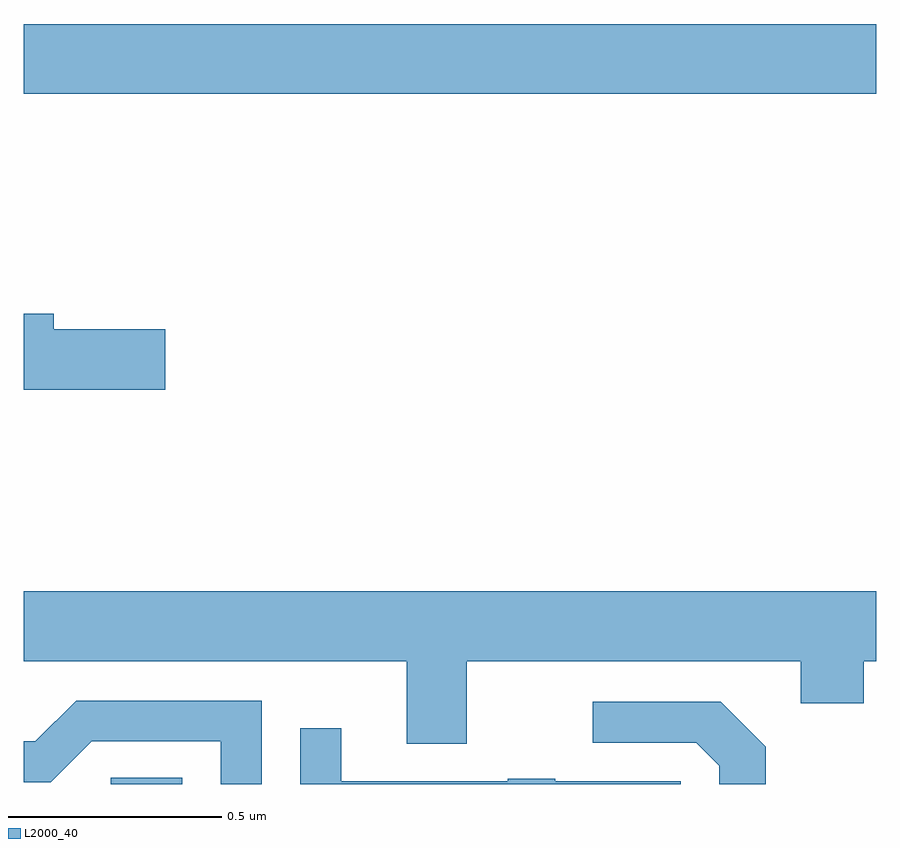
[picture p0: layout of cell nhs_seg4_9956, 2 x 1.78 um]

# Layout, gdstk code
import gdstk
lib = gdstk.Library(unit=1e-6, precision=1e-09)
def R(c, l, rs):  # rectangles x0, y0, x1, y1
    for r in rs: c.add(gdstk.rectangle(r[:2], r[2:], *l))
def P(c, l, *ps):  # polygons
    for p in ps: c.add(gdstk.Polygon(p, *l))
L2000_40 = (2000, 40)

nhs_seg4_9956 = lib.new_cell('nhs_seg4_9956')
R(nhs_seg4_9956, L2000_40, [(234.204,761.9,234.372,761.915), (234,763.52,236,763.684)])
P(nhs_seg4_9956, L2000_40, [(234.331,762.968),(234.07,762.968),(234.07,763.004),(234,763.004),(234,762.826),(234.331,762.826)],
  [(235.039,762.188),(235.823,762.188),(235.823,762.089),(235.971,762.089),(235.971,762.188),(236,762.188),(236,762.352),(234,762.352),(234,762.188),(234.899,762.188),(234.899,761.994),(235.039,761.994)],
  [(234.558,762.096),(234.123,762.096),(234.027,762),(234,762),(234,761.904),(234.063,761.904),(234.159,762),(234.462,762),(234.462,761.9),(234.558,761.9)],
  [(235.741,761.987),(235.635,762.093),(235.335,762.093),(235.335,761.997),(235.578,761.997),(235.632,761.943),(235.632,761.9),(235.741,761.9)],
  [(235.542,761.907),(235.247,761.907),(235.247,761.912),(235.135,761.912),(235.135,761.907),(234.745,761.907),(234.745,762.031),(234.649,762.031),(234.649,761.9),(235.542,761.9)])

lib.write_gds('nhs_seg4_9956.gds')
